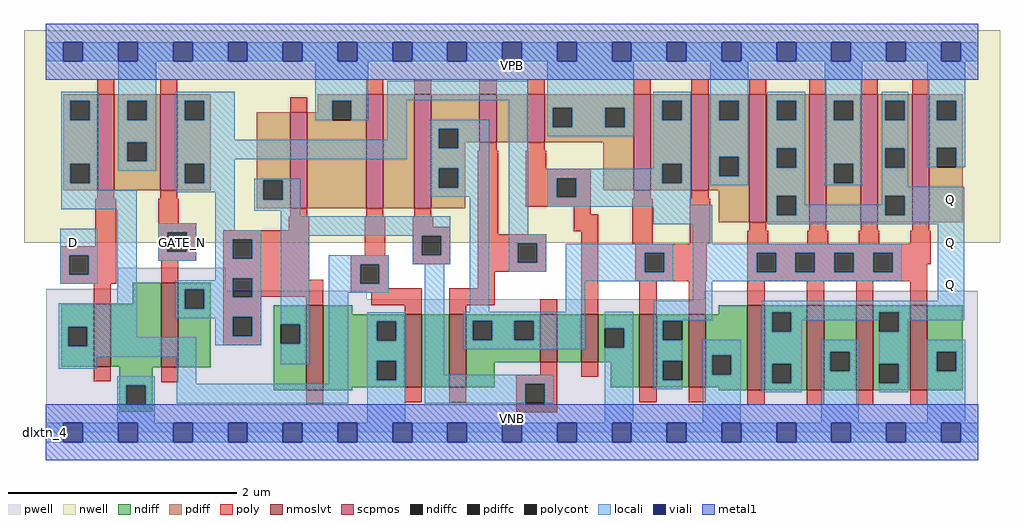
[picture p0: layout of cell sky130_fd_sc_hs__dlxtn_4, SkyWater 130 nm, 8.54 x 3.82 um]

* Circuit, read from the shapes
.subckt sky130_fd_sc_hs__dlxtn_4 D GATE_N VGND VNB VPB VPWR Q
XM1 VGND D n1 VNB sky130_fd_pr__nfet_01v8_lvt w=0.55 l=0.15
XM2 n2 GATE_N VGND VNB sky130_fd_pr__nfet_01v8_lvt w=0.74 l=0.15
XM3 VGND n2 n3 VNB sky130_fd_pr__nfet_01v8_lvt w=0.74 l=0.15
XM4 n4 n1 VGND VNB sky130_fd_pr__nfet_01v8_lvt w=0.64 l=0.15
XM5 n5 n2 n4 VNB sky130_fd_pr__nfet_01v8_lvt w=0.64 l=0.15
XM6 n6 n3 n5 VNB sky130_fd_pr__nfet_01v8_lvt w=0.42 l=0.15
XM7 VGND n7 n6 VNB sky130_fd_pr__nfet_01v8_lvt w=0.42 l=0.15
XM8 n7 n5 VGND VNB sky130_fd_pr__nfet_01v8_lvt w=0.64 l=0.15 m=2
XM9 Q n7 VGND VNB sky130_fd_pr__nfet_01v8_lvt w=0.74 l=0.15 m=4
XM10 VPWR D n1 VPB sky130_fd_pr__pfet_01v8 w=0.84 l=0.15
XM11 n2 GATE_N VPWR VPB sky130_fd_pr__pfet_01v8 w=0.84 l=0.15
XM12 VPWR n2 n3 VPB sky130_fd_pr__pfet_01v8 w=0.84 l=0.15
XM13 n8 n1 VPWR VPB sky130_fd_pr__pfet_01v8 w=1 l=0.15
XM14 n5 n3 n8 VPB sky130_fd_pr__pfet_01v8 w=1 l=0.15
XM15 n9 n2 n5 VPB sky130_fd_pr__pfet_01v8 w=0.42 l=0.15
XM16 VPWR n7 n9 VPB sky130_fd_pr__pfet_01v8 w=0.42 l=0.15
XM17 n7 n5 VPWR VPB sky130_fd_pr__pfet_01v8 w=0.84 l=0.15 m=2
XM18 Q n7 VPWR VPB sky130_fd_pr__pfet_01v8 w=1.12 l=0.15 m=4
.ends

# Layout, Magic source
magic
tech sky130A
magscale 1 2
<< nwell >>
rect -38 332 1670 704
<< pwell >>
rect 126 251 315 288
rect 1 248 315 251
rect 1 233 562 248
rect 1152 233 1631 248
rect 1 49 1631 233
rect 0 0 1632 49
<< scpmos >>
rect 90 424 120 592
rect 200 424 230 592
rect 428 392 458 560
rect 561 392 591 592
rect 645 392 675 592
rect 759 508 789 592
rect 843 508 873 592
rect 1029 424 1059 592
rect 1130 424 1160 592
rect 1231 368 1261 592
rect 1336 368 1366 592
rect 1426 368 1456 592
rect 1516 368 1546 592
<< nmoslvt >>
rect 84 115 114 225
rect 202 114 232 262
rect 456 74 486 222
rect 628 79 658 207
rect 706 79 736 207
rect 865 123 895 207
rect 937 123 967 207
rect 1039 79 1069 207
rect 1125 79 1155 207
rect 1228 74 1258 222
rect 1332 74 1362 222
rect 1418 74 1448 222
rect 1513 74 1543 222
<< ndiff >>
rect 152 225 202 262
rect 27 185 84 225
rect 27 151 39 185
rect 73 151 84 185
rect 27 115 84 151
rect 114 115 202 225
rect 129 114 202 115
rect 232 250 289 262
rect 232 216 243 250
rect 277 216 289 250
rect 232 114 289 216
rect 399 189 456 222
rect 399 155 411 189
rect 445 155 456 189
rect 129 82 187 114
rect 129 48 141 82
rect 175 48 187 82
rect 399 74 456 155
rect 486 207 536 222
rect 1178 207 1228 222
rect 486 194 628 207
rect 486 160 579 194
rect 613 160 628 194
rect 486 125 628 160
rect 486 91 579 125
rect 613 91 628 125
rect 486 79 628 91
rect 658 79 706 207
rect 736 195 865 207
rect 736 161 747 195
rect 781 161 820 195
rect 854 161 865 195
rect 736 123 865 161
rect 895 123 937 207
rect 967 182 1039 207
rect 967 148 978 182
rect 1012 148 1039 182
rect 967 123 1039 148
rect 736 79 786 123
rect 486 74 536 79
rect 989 79 1039 123
rect 1069 195 1125 207
rect 1069 161 1080 195
rect 1114 161 1125 195
rect 1069 125 1125 161
rect 1069 91 1080 125
rect 1114 91 1125 125
rect 1069 79 1125 91
rect 1155 135 1228 207
rect 1155 101 1166 135
rect 1200 101 1228 135
rect 1155 79 1228 101
rect 1178 74 1228 79
rect 1258 210 1332 222
rect 1258 176 1271 210
rect 1305 176 1332 210
rect 1258 120 1332 176
rect 1258 86 1271 120
rect 1305 86 1332 120
rect 1258 74 1332 86
rect 1362 141 1418 222
rect 1362 107 1373 141
rect 1407 107 1418 141
rect 1362 74 1418 107
rect 1448 210 1513 222
rect 1448 176 1459 210
rect 1493 176 1513 210
rect 1448 120 1513 176
rect 1448 86 1459 120
rect 1493 86 1513 120
rect 1448 74 1513 86
rect 1543 141 1605 222
rect 1543 107 1559 141
rect 1593 107 1605 141
rect 1543 74 1605 107
rect 129 36 187 48
<< pdiff >>
rect 31 580 90 592
rect 31 546 43 580
rect 77 546 90 580
rect 31 470 90 546
rect 31 436 43 470
rect 77 436 90 470
rect 31 424 90 436
rect 120 580 200 592
rect 120 546 143 580
rect 177 546 200 580
rect 120 508 200 546
rect 120 474 143 508
rect 177 474 200 508
rect 120 424 200 474
rect 230 580 289 592
rect 230 546 243 580
rect 277 546 289 580
rect 476 580 561 592
rect 476 560 501 580
rect 230 470 289 546
rect 230 436 243 470
rect 277 436 289 470
rect 230 424 289 436
rect 369 441 428 560
rect 369 407 381 441
rect 415 407 428 441
rect 369 392 428 407
rect 458 546 501 560
rect 535 546 561 580
rect 458 392 561 546
rect 591 392 645 592
rect 675 531 759 592
rect 675 497 688 531
rect 722 508 759 531
rect 789 508 843 592
rect 873 568 1029 592
rect 873 534 887 568
rect 921 534 979 568
rect 1013 534 1029 568
rect 873 508 1029 534
rect 722 497 734 508
rect 675 462 734 497
rect 675 428 688 462
rect 722 428 734 462
rect 675 392 734 428
rect 976 424 1029 508
rect 1059 580 1130 592
rect 1059 546 1079 580
rect 1113 546 1130 580
rect 1059 470 1130 546
rect 1059 436 1079 470
rect 1113 436 1130 470
rect 1059 424 1130 436
rect 1160 580 1231 592
rect 1160 546 1179 580
rect 1213 546 1231 580
rect 1160 482 1231 546
rect 1160 448 1179 482
rect 1213 448 1231 482
rect 1160 424 1231 448
rect 1178 368 1231 424
rect 1261 580 1336 592
rect 1261 546 1279 580
rect 1313 546 1336 580
rect 1261 497 1336 546
rect 1261 463 1279 497
rect 1313 463 1336 497
rect 1261 414 1336 463
rect 1261 380 1279 414
rect 1313 380 1336 414
rect 1261 368 1336 380
rect 1366 580 1426 592
rect 1366 546 1379 580
rect 1413 546 1426 580
rect 1366 470 1426 546
rect 1366 436 1379 470
rect 1413 436 1426 470
rect 1366 368 1426 436
rect 1456 580 1516 592
rect 1456 546 1469 580
rect 1503 546 1516 580
rect 1456 497 1516 546
rect 1456 463 1469 497
rect 1503 463 1516 497
rect 1456 414 1516 463
rect 1456 380 1469 414
rect 1503 380 1516 414
rect 1456 368 1516 380
rect 1546 580 1605 592
rect 1546 546 1559 580
rect 1593 546 1605 580
rect 1546 498 1605 546
rect 1546 464 1559 498
rect 1593 464 1605 498
rect 1546 368 1605 464
<< ndiffc >>
rect 39 151 73 185
rect 243 216 277 250
rect 411 155 445 189
rect 141 48 175 82
rect 579 160 613 194
rect 579 91 613 125
rect 747 161 781 195
rect 820 161 854 195
rect 978 148 1012 182
rect 1080 161 1114 195
rect 1080 91 1114 125
rect 1166 101 1200 135
rect 1271 176 1305 210
rect 1271 86 1305 120
rect 1373 107 1407 141
rect 1459 176 1493 210
rect 1459 86 1493 120
rect 1559 107 1593 141
<< pdiffc >>
rect 43 546 77 580
rect 43 436 77 470
rect 143 546 177 580
rect 143 474 177 508
rect 243 546 277 580
rect 243 436 277 470
rect 381 407 415 441
rect 501 546 535 580
rect 688 497 722 531
rect 887 534 921 568
rect 979 534 1013 568
rect 688 428 722 462
rect 1079 546 1113 580
rect 1079 436 1113 470
rect 1179 546 1213 580
rect 1179 448 1213 482
rect 1279 546 1313 580
rect 1279 463 1313 497
rect 1279 380 1313 414
rect 1379 546 1413 580
rect 1379 436 1413 470
rect 1469 546 1503 580
rect 1469 463 1503 497
rect 1469 380 1503 414
rect 1559 546 1593 580
rect 1559 464 1593 498
<< poly >>
rect 90 592 120 618
rect 200 592 230 618
rect 561 592 591 618
rect 645 592 675 618
rect 759 592 789 618
rect 843 592 873 618
rect 1029 592 1059 618
rect 1130 592 1160 618
rect 1231 592 1261 618
rect 1336 592 1366 618
rect 1426 592 1456 618
rect 1516 592 1546 618
rect 428 560 458 586
rect 90 409 120 424
rect 200 409 230 424
rect 87 326 123 409
rect 25 310 123 326
rect 25 276 41 310
rect 75 276 123 310
rect 197 366 233 409
rect 759 493 789 508
rect 843 493 873 508
rect 428 377 458 392
rect 561 377 591 392
rect 645 377 675 392
rect 197 350 263 366
rect 425 354 461 377
rect 197 316 213 350
rect 247 316 263 350
rect 197 300 263 316
rect 311 338 461 354
rect 311 304 327 338
rect 361 304 461 338
rect 558 310 594 377
rect 642 360 678 377
rect 642 344 708 360
rect 642 310 658 344
rect 692 310 708 344
rect 25 260 123 276
rect 202 262 232 300
rect 311 270 461 304
rect 84 225 114 260
rect 84 89 114 115
rect 311 236 327 270
rect 361 267 461 270
rect 534 294 600 310
rect 642 294 708 310
rect 756 347 792 493
rect 840 461 876 493
rect 840 445 954 461
rect 840 411 894 445
rect 928 411 954 445
rect 840 395 954 411
rect 1029 409 1059 424
rect 1130 409 1160 424
rect 924 382 954 395
rect 924 352 967 382
rect 756 331 876 347
rect 756 297 826 331
rect 860 297 876 331
rect 361 237 486 267
rect 534 260 550 294
rect 584 260 600 294
rect 534 252 600 260
rect 756 281 876 297
rect 756 252 786 281
rect 534 244 658 252
rect 361 236 377 237
rect 311 202 377 236
rect 456 222 486 237
rect 570 222 658 244
rect 311 168 327 202
rect 361 168 377 202
rect 311 152 377 168
rect 202 88 232 114
rect 628 207 658 222
rect 706 222 786 252
rect 706 207 736 222
rect 865 207 895 233
rect 937 207 967 352
rect 1026 330 1062 409
rect 1127 330 1163 409
rect 1231 353 1261 368
rect 1336 353 1366 368
rect 1426 353 1456 368
rect 1516 353 1546 368
rect 1228 330 1264 353
rect 1333 330 1369 353
rect 1423 330 1459 353
rect 1513 330 1549 353
rect 1032 314 1157 330
rect 1032 280 1048 314
rect 1082 280 1157 314
rect 1032 264 1157 280
rect 1228 314 1549 330
rect 1228 280 1244 314
rect 1278 280 1312 314
rect 1346 280 1380 314
rect 1414 280 1448 314
rect 1482 294 1549 314
rect 1482 280 1543 294
rect 1228 264 1543 280
rect 1039 207 1069 264
rect 1125 207 1155 264
rect 1228 222 1258 264
rect 1332 222 1362 264
rect 1418 222 1448 264
rect 1513 222 1543 264
rect 865 101 895 123
rect 823 85 895 101
rect 937 97 967 123
rect 456 48 486 74
rect 628 53 658 79
rect 706 53 736 79
rect 823 51 839 85
rect 873 51 895 85
rect 1039 53 1069 79
rect 1125 53 1155 79
rect 823 35 895 51
rect 1228 48 1258 74
rect 1332 48 1362 74
rect 1418 48 1448 74
rect 1513 48 1543 74
<< polycont >>
rect 41 276 75 310
rect 213 316 247 350
rect 327 304 361 338
rect 658 310 692 344
rect 327 236 361 270
rect 894 411 928 445
rect 826 297 860 331
rect 550 260 584 294
rect 327 168 361 202
rect 1048 280 1082 314
rect 1244 280 1278 314
rect 1312 280 1346 314
rect 1380 280 1414 314
rect 1448 280 1482 314
rect 839 51 873 85
<< locali >>
rect 0 649 31 683
rect 65 649 127 683
rect 161 649 223 683
rect 257 649 319 683
rect 353 649 415 683
rect 449 649 511 683
rect 545 649 607 683
rect 641 649 703 683
rect 737 649 799 683
rect 833 649 895 683
rect 929 649 991 683
rect 1025 649 1087 683
rect 1121 649 1183 683
rect 1217 649 1279 683
rect 1313 649 1375 683
rect 1409 649 1471 683
rect 1505 649 1567 683
rect 1601 649 1632 683
rect 27 580 93 596
rect 27 546 43 580
rect 77 546 93 580
rect 27 470 93 546
rect 27 436 43 470
rect 77 436 93 470
rect 127 580 193 649
rect 127 546 143 580
rect 177 546 193 580
rect 127 508 193 546
rect 127 474 143 508
rect 177 474 193 508
rect 127 458 193 474
rect 227 580 331 596
rect 227 546 243 580
rect 277 546 331 580
rect 472 580 564 649
rect 472 546 501 580
rect 535 546 564 580
rect 598 581 844 615
rect 227 512 331 546
rect 598 512 632 581
rect 227 478 632 512
rect 672 531 776 547
rect 672 497 688 531
rect 722 497 776 531
rect 227 470 331 478
rect 27 424 93 436
rect 227 436 243 470
rect 277 436 331 470
rect 672 462 776 497
rect 27 390 159 424
rect 227 420 331 436
rect 25 310 91 356
rect 25 276 41 310
rect 75 276 91 310
rect 25 260 91 276
rect 125 226 159 390
rect 197 350 263 366
rect 197 316 213 350
rect 247 316 263 350
rect 197 300 263 316
rect 297 354 331 420
rect 365 441 445 444
rect 365 407 381 441
rect 415 407 445 441
rect 672 428 688 462
rect 722 428 776 462
rect 672 412 776 428
rect 365 388 445 407
rect 411 378 445 388
rect 297 338 377 354
rect 297 304 327 338
rect 361 304 377 338
rect 297 270 377 304
rect 297 266 327 270
rect 23 185 159 226
rect 227 250 327 266
rect 227 216 243 250
rect 277 236 327 250
rect 361 236 377 270
rect 277 216 377 236
rect 227 202 377 216
rect 227 200 327 202
rect 23 151 39 185
rect 73 166 159 185
rect 297 168 327 200
rect 361 168 377 202
rect 73 151 263 166
rect 297 152 377 168
rect 411 344 708 378
rect 411 189 461 344
rect 642 310 658 344
rect 692 310 708 344
rect 445 155 461 189
rect 23 132 263 151
rect 23 111 89 132
rect 125 82 191 98
rect 125 48 141 82
rect 175 48 191 82
rect 229 85 263 132
rect 411 119 461 155
rect 495 294 600 310
rect 642 294 708 310
rect 495 260 550 294
rect 584 260 600 294
rect 495 244 600 260
rect 495 85 529 244
rect 229 51 529 85
rect 563 194 629 210
rect 563 160 579 194
rect 613 160 629 194
rect 563 125 629 160
rect 563 91 579 125
rect 613 91 629 125
rect 125 17 191 48
rect 563 17 629 91
rect 663 101 697 294
rect 742 211 776 412
rect 810 347 844 581
rect 878 568 1029 649
rect 878 534 887 568
rect 921 534 979 568
rect 1013 534 1029 568
rect 878 518 1029 534
rect 1063 580 1129 596
rect 1063 546 1079 580
rect 1113 546 1129 580
rect 1063 470 1129 546
rect 1063 461 1079 470
rect 878 445 1079 461
rect 878 411 894 445
rect 928 436 1079 445
rect 1113 436 1129 470
rect 928 411 1129 436
rect 1163 580 1229 649
rect 1163 546 1179 580
rect 1213 546 1229 580
rect 1163 482 1229 546
rect 1163 448 1179 482
rect 1213 448 1229 482
rect 1163 432 1229 448
rect 1263 580 1329 596
rect 1263 546 1279 580
rect 1313 546 1329 580
rect 1263 497 1329 546
rect 1263 463 1279 497
rect 1313 463 1329 497
rect 878 398 1129 411
rect 1263 414 1329 463
rect 1363 580 1429 649
rect 1363 546 1379 580
rect 1413 546 1429 580
rect 1363 470 1429 546
rect 1363 436 1379 470
rect 1413 436 1429 470
rect 1363 432 1429 436
rect 1463 580 1509 596
rect 1463 546 1469 580
rect 1503 546 1509 580
rect 1463 497 1509 546
rect 1463 463 1469 497
rect 1503 463 1509 497
rect 1543 580 1609 649
rect 1543 546 1559 580
rect 1593 546 1609 580
rect 1543 498 1609 546
rect 1543 464 1559 498
rect 1593 464 1609 498
rect 878 395 1166 398
rect 1063 364 1166 395
rect 1263 380 1279 414
rect 1313 398 1329 414
rect 1463 430 1509 463
rect 1463 414 1607 430
rect 1463 398 1469 414
rect 1313 380 1469 398
rect 1503 380 1607 414
rect 1263 364 1607 380
rect 810 331 876 347
rect 810 297 826 331
rect 860 297 876 331
rect 1132 330 1166 364
rect 810 281 876 297
rect 910 314 1098 330
rect 910 280 1048 314
rect 1082 280 1098 314
rect 910 264 1098 280
rect 1132 314 1498 330
rect 1132 280 1244 314
rect 1278 280 1312 314
rect 1346 280 1380 314
rect 1414 280 1448 314
rect 1482 280 1498 314
rect 1132 264 1498 280
rect 910 211 944 264
rect 1132 230 1166 264
rect 1561 230 1607 364
rect 731 195 944 211
rect 731 161 747 195
rect 781 161 820 195
rect 854 161 944 195
rect 731 145 944 161
rect 978 182 1028 211
rect 1012 148 1028 182
rect 663 85 889 101
rect 663 51 839 85
rect 873 51 889 85
rect 978 17 1028 148
rect 1064 196 1166 230
rect 1253 210 1607 230
rect 1064 195 1114 196
rect 1064 161 1080 195
rect 1253 176 1271 210
rect 1305 196 1459 210
rect 1305 176 1323 196
rect 1064 125 1114 161
rect 1064 91 1080 125
rect 1064 75 1114 91
rect 1150 135 1216 162
rect 1150 101 1166 135
rect 1200 101 1216 135
rect 1150 17 1216 101
rect 1253 120 1323 176
rect 1493 196 1607 210
rect 1493 176 1509 196
rect 1253 86 1271 120
rect 1305 86 1323 120
rect 1253 70 1323 86
rect 1357 141 1423 162
rect 1357 107 1373 141
rect 1407 107 1423 141
rect 1357 17 1423 107
rect 1459 120 1509 176
rect 1493 86 1509 120
rect 1459 70 1509 86
rect 1543 141 1609 162
rect 1543 107 1559 141
rect 1593 107 1609 141
rect 1543 17 1609 107
rect 0 -17 31 17
rect 65 -17 127 17
rect 161 -17 223 17
rect 257 -17 319 17
rect 353 -17 415 17
rect 449 -17 511 17
rect 545 -17 607 17
rect 641 -17 703 17
rect 737 -17 799 17
rect 833 -17 895 17
rect 929 -17 991 17
rect 1025 -17 1087 17
rect 1121 -17 1183 17
rect 1217 -17 1279 17
rect 1313 -17 1375 17
rect 1409 -17 1471 17
rect 1505 -17 1567 17
rect 1601 -17 1632 17
<< viali >>
rect 31 649 65 683
rect 127 649 161 683
rect 223 649 257 683
rect 319 649 353 683
rect 415 649 449 683
rect 511 649 545 683
rect 607 649 641 683
rect 703 649 737 683
rect 799 649 833 683
rect 895 649 929 683
rect 991 649 1025 683
rect 1087 649 1121 683
rect 1183 649 1217 683
rect 1279 649 1313 683
rect 1375 649 1409 683
rect 1471 649 1505 683
rect 1567 649 1601 683
rect 31 -17 65 17
rect 127 -17 161 17
rect 223 -17 257 17
rect 319 -17 353 17
rect 415 -17 449 17
rect 511 -17 545 17
rect 607 -17 641 17
rect 703 -17 737 17
rect 799 -17 833 17
rect 895 -17 929 17
rect 991 -17 1025 17
rect 1087 -17 1121 17
rect 1183 -17 1217 17
rect 1279 -17 1313 17
rect 1375 -17 1409 17
rect 1471 -17 1505 17
rect 1567 -17 1601 17
<< metal1 >>
rect 0 683 1632 715
rect 0 649 31 683
rect 65 649 127 683
rect 161 649 223 683
rect 257 649 319 683
rect 353 649 415 683
rect 449 649 511 683
rect 545 649 607 683
rect 641 649 703 683
rect 737 649 799 683
rect 833 649 895 683
rect 929 649 991 683
rect 1025 649 1087 683
rect 1121 649 1183 683
rect 1217 649 1279 683
rect 1313 649 1375 683
rect 1409 649 1471 683
rect 1505 649 1567 683
rect 1601 649 1632 683
rect 0 617 1632 649
rect 0 17 1632 49
rect 0 -17 31 17
rect 65 -17 127 17
rect 161 -17 223 17
rect 257 -17 319 17
rect 353 -17 415 17
rect 449 -17 511 17
rect 545 -17 607 17
rect 641 -17 703 17
rect 737 -17 799 17
rect 833 -17 895 17
rect 929 -17 991 17
rect 1025 -17 1087 17
rect 1121 -17 1183 17
rect 1217 -17 1279 17
rect 1313 -17 1375 17
rect 1409 -17 1471 17
rect 1505 -17 1567 17
rect 1601 -17 1632 17
rect 0 -49 1632 -17
<< labels >>
rlabel comment s 0 0 0 0 4 dlxtn_4
flabel pwell s 0 0 1632 49 0 FreeSans 200 0 0 0 VNB
port 4 nsew ground bidirectional
flabel nwell s 0 617 1632 666 0 FreeSans 200 0 0 0 VPB
port 5 nsew power bidirectional
flabel metal1 s 0 617 1632 666 0 FreeSans 340 0 0 0 VPWR
port 6 nsew power bidirectional
flabel metal1 s 0 0 1632 49 0 FreeSans 340 0 0 0 VGND
port 3 nsew ground bidirectional
flabel locali s 31 316 65 350 0 FreeSans 340 0 0 0 D
port 1 nsew signal input
flabel locali s 223 316 257 350 0 FreeSans 340 0 0 0 GATE_N
port 2 nsew clock input
flabel locali s 1567 242 1601 276 0 FreeSans 340 0 0 0 Q
port 7 nsew signal output
flabel locali s 1567 316 1601 350 0 FreeSans 340 0 0 0 Q
port 7 nsew signal output
flabel locali s 1567 390 1601 424 0 FreeSans 340 0 0 0 Q
port 7 nsew signal output
<< properties >>
string LEFsite unit
string LEFclass CORE
string FIXED_BBOX 0 0 1632 666
string GDS_FILE $PDKPATH/libs.ref/sky130_fd_sc_hs/gds/sky130_fd_sc_hs.gds
string LEFsymmetry X Y
string GDS_END 645426
string GDS_START 633050
<< end >>
